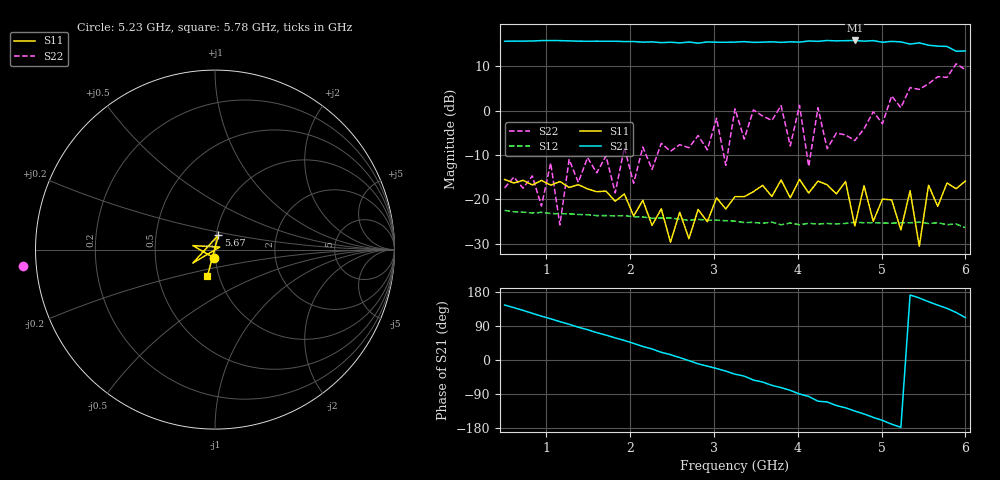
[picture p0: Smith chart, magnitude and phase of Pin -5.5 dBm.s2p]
! RsaToolbox (C) 2015 Rohde & Schwarz America
! Number of points: 51
! Number of ports: 2
! Balanced ports?: No
# Hz S RI R 50
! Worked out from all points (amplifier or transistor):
!   51 points, 500 MHz to 6 GHz, reference 50 ohm
!   highest |S21| = 15.8 dB at 4.68 GHz (marker M1)
!   |S21| within 3 dB of that: start of sweep to end of sweep
!   unconditionally stable (mu >= 1): start of sweep to 3.003 GHz; 3.047 GHz to 3.219 GHz; 4.288 GHz to 4.798 GHz (the widest 3 of 6)
!   at 1.38 GHz: K = 1.36, MAG = 15.9 dB, |S12| = -23.4 dB
!   at 3.25 GHz: K = 0.10, MSG = 20.2 dB, |S12| = -24.9 dB
!   at 6 GHz: K = -15.43, MSG = 19.9 dB, |S12| = -26.4 dB
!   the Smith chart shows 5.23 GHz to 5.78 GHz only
!   S11 on the Smith chart (normalised r, x): 5.23 GHz: 0.98, -0.09; 5.67 GHz: 1.03, +0.17; 5.78 GHz: 0.88, -0.27
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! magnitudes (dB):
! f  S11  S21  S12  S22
! 500 MHz  -15.5  15.6  -22.5  -17.4
! 940 MHz  -15.7  15.7  -22.9  -21.5
! 1.05 GHz  -16.8  15.7  -23.2  -11.8
! 1.16 GHz  -16.0  15.7  -23.2  -25.8
! 1.27 GHz  -17.3  15.7  -23.3  -11.0
! 1.49 GHz  -17.6  15.6  -23.5  -10.6
! 1.82 GHz  -20.4  15.6  -23.7  -18.5
! 2.37 GHz  -22.1  15.3  -24.2  -7.4
! 2.7 GHz  -28.9  15.4  -24.7  -8.4
! 3.03 GHz  -19.6  15.4  -24.7  -1.8
! 3.14 GHz  -22.2  15.4  -24.8  -12.3
! 3.25 GHz  -19.4  15.4  -24.9  0.4
! 3.91 GHz  -19.6  15.5  -25.3  -8.0
! 4.02 GHz  -15.5  15.4  -25.7  1.2
! 4.13 GHz  -18.6  15.7  -25.4  -12.6
! 4.24 GHz  -15.9  15.6  -25.6  0.6
! 4.68 GHz  -26.0  15.8  -25.1  -6.8
! 5.12 GHz  -20.1  15.6  -25.4  3.3
! 5.23 GHz  -26.9  15.4  -25.3  0.6
! 5.67 GHz  -21.6  14.5  -25.3  7.6
! 5.78 GHz  -16.3  14.4  -25.7  7.4
! 6 GHz  -15.9  13.4  -26.4  9.2
